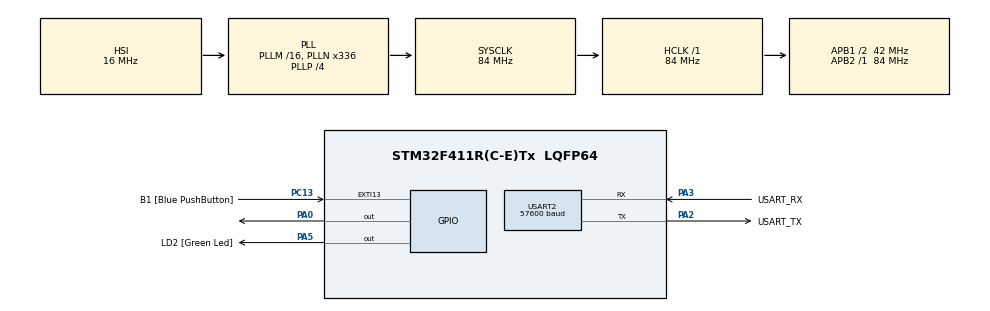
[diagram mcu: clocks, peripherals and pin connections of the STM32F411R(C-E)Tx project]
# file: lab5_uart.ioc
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Dma.Request0=USART2_RX
Dma.Request1=USART2_TX
Dma.USART2_RX.0.Direction=DMA_PERIPH_TO_MEMORY
Dma.USART2_RX.0.FIFOMode=DMA_FIFOMODE_DISABLE
Dma.USART2_RX.0.Instance=DMA1_Stream5
Dma.USART2_RX.0.MemDataAlignment=DMA_MDATAALIGN_BYTE
Dma.USART2_RX.0.MemInc=DMA_MINC_ENABLE
Dma.USART2_RX.0.Mode=DMA_CIRCULAR
Dma.USART2_RX.0.PeriphDataAlignment=DMA_PDATAALIGN_BYTE
Dma.USART2_RX.0.PeriphInc=DMA_PINC_DISABLE
Dma.USART2_RX.0.Priority=DMA_PRIORITY_LOW
Dma.USART2_TX.1.Direction=DMA_MEMORY_TO_PERIPH
Dma.USART2_TX.1.FIFOMode=DMA_FIFOMODE_DISABLE
Dma.USART2_TX.1.Instance=DMA1_Stream6
Dma.USART2_TX.1.MemDataAlignment=DMA_MDATAALIGN_BYTE
Dma.USART2_TX.1.MemInc=DMA_MINC_ENABLE
Dma.USART2_TX.1.Mode=DMA_NORMAL
Dma.USART2_TX.1.PeriphDataAlignment=DMA_PDATAALIGN_BYTE
Dma.USART2_TX.1.PeriphInc=DMA_PINC_DISABLE
Dma.USART2_TX.1.Priority=DMA_PRIORITY_LOW
Mcu.Family=STM32F4
Mcu.Name=STM32F411R(C-E)Tx
Mcu.Package=LQFP64
NVIC.DMA1_Stream5_IRQn=true\:0\:0\:false\:false\:true\:false\:true\:true
NVIC.DMA1_Stream6_IRQn=true\:0\:0\:false\:false\:true\:false\:true\:true
NVIC.EXTI15_10_IRQn=true\:0\:0\:false\:false\:true\:true\:true\:true
NVIC.PriorityGroup=NVIC_PRIORITYGROUP_0
NVIC.USART2_IRQn=true\:0\:0\:false\:false\:true\:true\:true\:true
PA0-WKUP.Signal=GPIO_Output
PA13.GPIO_Label=TMS
PA13.Mode=Serial_Wire
PA13.Signal=SYS_JTMS-SWDIO
PA14.GPIO_Label=TCK
PA14.Mode=Serial_Wire
PA14.Signal=SYS_JTCK-SWCLK
PA2.GPIO_Label=USART_TX
PA2.Mode=Asynchronous
PA2.Signal=USART2_TX
PA3.GPIO_Label=USART_RX
PA3.Mode=Asynchronous
PA3.Signal=USART2_RX
PA5.GPIO_Label=LD2 [Green Led]
PA5.Signal=GPIO_Output
PB3.GPIO_Label=SWO
PB3.Signal=SYS_JTDO-SWO
PC13-ANTI_TAMP.GPIO_Label=B1 [Blue PushButton]
PC13-ANTI_TAMP.GPIO_ModeDefaultEXTI=GPIO_MODE_IT_RISING_FALLING
PC13-ANTI_TAMP.Signal=GPXTI13
PC14-OSC32_IN.Mode=LSE-External-Oscillator
PC14-OSC32_IN.Signal=RCC_OSC32_IN
PC15-OSC32_OUT.Mode=LSE-External-Oscillator
PC15-OSC32_OUT.Signal=RCC_OSC32_OUT
PH0\ -\ OSC_IN.Mode=HSE-External-Clock-Source
PH0\ -\ OSC_IN.Signal=RCC_OSC_IN
PH1\ -\ OSC_OUT.Mode=HSE-External-Clock-Source
PH1\ -\ OSC_OUT.Signal=RCC_OSC_OUT
ProjectManager.HeapSize=0x200
ProjectManager.StackSize=0x400
ProjectManager.TargetToolchain=STM32CubeIDE
RCC.48MHZClocksFreq_Value=84000000
RCC.AHBFreq_Value=84000000
RCC.APB1CLKDivider=RCC_HCLK_DIV2
RCC.APB1Freq_Value=42000000
RCC.APB1TimFreq_Value=84000000
RCC.APB2Freq_Value=84000000
RCC.APB2TimFreq_Value=84000000
RCC.CortexFreq_Value=84000000
RCC.FLatency-AdvancedSettings=FLASH_LATENCY_2
RCC.HCLKFreq_Value=84000000
RCC.HSE_VALUE=8000000
RCC.HSI_VALUE=16000000
RCC.PLLN=336
RCC.PLLP=RCC_PLLP_DIV4
RCC.SYSCLKFreq_VALUE=84000000
RCC.SYSCLKSource=RCC_SYSCLKSOURCE_PLLCLK
RCC.VCOOutputFreq_Value=336000000
USART2.BaudRate=57600
USART2.VirtualMode=VM_ASYNC
board=NUCLEO-F411RE

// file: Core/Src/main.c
/* USER CODE BEGIN Header */
/**
  ******************************************************************************
  * @file           : main.c
  * @brief          : Main program body
  ******************************************************************************
  * @attention
  *
  * Copyright (c) 2023 STMicroelectronics.
  * All rights reserved.
  *
  * This software is licensed under terms that can be found in the LICENSE file
  * in the root directory of this software component.
  * If no LICENSE file comes with this software, it is provided AS-IS.
  *
  ******************************************************************************
  */
/* USER CODE END Header */
#include "main.h"

/* USER CODE BEGIN Includes */
#include "stdio.h"
#include "string.h"
/* USER CODE END Includes */

UART_HandleTypeDef huart2;
DMA_HandleTypeDef hdma_usart2_rx;
DMA_HandleTypeDef hdma_usart2_tx;

/* USER CODE BEGIN PV */
uint8_t RxBuffer[2];
uint8_t TxBuffer[200];
uint8_t TxBuffer1[100];

enum {
	ModeMenu,
	LEDControl,
	ButtonStatus,
}mode = ModeMenu;

uint32_t LED_speed;
uint32_t LED_onoff;
/* USER CODE END PV */

void SystemClock_Config(void);
static void MX_GPIO_Init(void);
static void MX_DMA_Init(void);
static void MX_USART2_UART_Init(void);

int main(void)
{

  /* MCU Configuration--------------------------------------------------------*/

  /* Reset of all peripherals, Initializes the Flash interface and the Systick. */
  HAL_Init();

  /* Configure the system clock */
  SystemClock_Config();

  /* Initialize all configured peripherals */
  MX_GPIO_Init();
  MX_DMA_Init();
  MX_USART2_UART_Init();
  /* USER CODE BEGIN 2 */
//  uint8_t text[] = "Hello World!";
//  HAL_UART_Transmit(&huart2, text, 11, 10);
	HAL_UART_Receive_DMA(&huart2, RxBuffer, 1);
	sprintf((char*)TxBuffer,"\r\n-------------------------\r\nSa Wad Dee Kub Por Mae Pee Nong\r\nPress 0 : LED Control\r\nPress 1 : Button Status\r\n");
	HAL_UART_Transmit_DMA(&huart2, TxBuffer, strlen((char*)TxBuffer));
  /* USER CODE END 2 */

  /* Infinite loop */
  while (1)
  {

    /* USER CODE BEGIN 3 */
	  HAL_GPIO_TogglePin(GPIOA, GPIO_PIN_0);
	  if (LED_onoff == 1 && LED_speed != 0){
			static uint32_t timestamp = 0;
			if(HAL_GetTick() >= timestamp)
			{
				timestamp = HAL_GetTick() + (1000 / (LED_speed * 2));
				HAL_GPIO_TogglePin(GPIOA, GPIO_PIN_5);
			}
	  }

  }
  /* USER CODE END 3 */
}

void SystemClock_Config(void)
{
  RCC_OscInitTypeDef RCC_OscInitStruct = {0};
  RCC_ClkInitTypeDef RCC_ClkInitStruct = {0};

  /** Configure the main internal regulator output voltage
  */
  __HAL_RCC_PWR_CLK_ENABLE();
  __HAL_PWR_VOLTAGESCALING_CONFIG(PWR_REGULATOR_VOLTAGE_SCALE1);

  /** Initializes the RCC Oscillators according to the specified parameters
  * in the RCC_OscInitTypeDef structure.
  */
  RCC_OscInitStruct.OscillatorType = RCC_OSCILLATORTYPE_HSI;
  RCC_OscInitStruct.HSIState = RCC_HSI_ON;
  RCC_OscInitStruct.HSICalibrationValue = RCC_HSICALIBRATION_DEFAULT;
  RCC_OscInitStruct.PLL.PLLState = RCC_PLL_ON;
  RCC_OscInitStruct.PLL.PLLSource = RCC_PLLSOURCE_HSI;
  RCC_OscInitStruct.PLL.PLLM = 16;
  RCC_OscInitStruct.PLL.PLLN = 336;
  RCC_OscInitStruct.PLL.PLLP = RCC_PLLP_DIV4;
  RCC_OscInitStruct.PLL.PLLQ = 4;
  if (HAL_RCC_OscConfig(&RCC_OscInitStruct) != HAL_OK)
  {
    Error_Handler();
  }

  /** Initializes the CPU, AHB and APB buses clocks
  */
  RCC_ClkInitStruct.ClockType = RCC_CLOCKTYPE_HCLK|RCC_CLOCKTYPE_SYSCLK
                              |RCC_CLOCKTYPE_PCLK1|RCC_CLOCKTYPE_PCLK2;
  RCC_ClkInitStruct.SYSCLKSource = RCC_SYSCLKSOURCE_PLLCLK;
  RCC_ClkInitStruct.AHBCLKDivider = RCC_SYSCLK_DIV1;
  RCC_ClkInitStruct.APB1CLKDivider = RCC_HCLK_DIV2;
  RCC_ClkInitStruct.APB2CLKDivider = RCC_HCLK_DIV1;

  if (HAL_RCC_ClockConfig(&RCC_ClkInitStruct, FLASH_LATENCY_2) != HAL_OK)
  {
    Error_Handler();
  }
}

static void MX_USART2_UART_Init(void)
{

  huart2.Instance = USART2;
  huart2.Init.BaudRate = 57600;
  huart2.Init.WordLength = UART_WORDLENGTH_8B;
  huart2.Init.StopBits = UART_STOPBITS_1;
  huart2.Init.Parity = UART_PARITY_NONE;
  huart2.Init.Mode = UART_MODE_TX_RX;
  huart2.Init.HwFlowCtl = UART_HWCONTROL_NONE;
  huart2.Init.OverSampling = UART_OVERSAMPLING_16;
  if (HAL_UART_Init(&huart2) != HAL_OK)
  {
    Error_Handler();
  }

}

static void MX_DMA_Init(void)
{

  /* DMA controller clock enable */
  __HAL_RCC_DMA1_CLK_ENABLE();

  /* DMA interrupt init */
  /* DMA1_Stream5_IRQn interrupt configuration */
  HAL_NVIC_SetPriority(DMA1_Stream5_IRQn, 0, 0);
  HAL_NVIC_EnableIRQ(DMA1_Stream5_IRQn);
  /* DMA1_Stream6_IRQn interrupt configuration */
  HAL_NVIC_SetPriority(DMA1_Stream6_IRQn, 0, 0);
  HAL_NVIC_EnableIRQ(DMA1_Stream6_IRQn);

}

static void MX_GPIO_Init(void)
{
  GPIO_InitTypeDef GPIO_InitStruct = {0};

  /* GPIO Ports Clock Enable */
  __HAL_RCC_GPIOC_CLK_ENABLE();
  __HAL_RCC_GPIOH_CLK_ENABLE();
  __HAL_RCC_GPIOA_CLK_ENABLE();
  __HAL_RCC_GPIOB_CLK_ENABLE();

  /*Configure GPIO pin Output Level */
  HAL_GPIO_WritePin(GPIOA, GPIO_PIN_0|LD2_Pin, GPIO_PIN_RESET);

  /*Configure GPIO pin : B1_Pin */
  GPIO_InitStruct.Pin = B1_Pin;
  GPIO_InitStruct.Mode = GPIO_MODE_IT_RISING_FALLING;
  GPIO_InitStruct.Pull = GPIO_NOPULL;
  HAL_GPIO_Init(B1_GPIO_Port, &GPIO_InitStruct);

  /*Configure GPIO pins : PA0 LD2_Pin */
  GPIO_InitStruct.Pin = GPIO_PIN_0|LD2_Pin;
  GPIO_InitStruct.Mode = GPIO_MODE_OUTPUT_PP;
  GPIO_InitStruct.Pull = GPIO_NOPULL;
  GPIO_InitStruct.Speed = GPIO_SPEED_FREQ_LOW;
  HAL_GPIO_Init(GPIOA, &GPIO_InitStruct);

  /* EXTI interrupt init*/
  HAL_NVIC_SetPriority(EXTI15_10_IRQn, 0, 0);
  HAL_NVIC_EnableIRQ(EXTI15_10_IRQn);

}

/* USER CODE BEGIN 4 */
void HAL_UART_RxCpltCallback(UART_HandleTypeDef *huart)
{
	if(huart == &huart2)
	{
		RxBuffer[1] = '\0';

//		sprintf((char*)TxBuffer,"Received : %s\r\n" ,RxBuffer);
//		HAL_UART_Transmit_DMA(&huart2, TxBuffer, strlen((char*)TxBuffer));

		char in = RxBuffer[0];

		switch (mode) {
			case ModeMenu:
				if (in == '0') {
					mode = LEDControl;
					sprintf((char*)TxBuffer,"-------------------------\r\nPress : %s\r\nLED Control\r\nPress a : +1 Hz\r\nPress s : -1 Hz\r\nPress d : On/Off\r\nPress x : Back to Mode Menu\r\n", RxBuffer);
					HAL_UART_Transmit_DMA(&huart2, TxBuffer, strlen((char*)TxBuffer));
				}
				else if (in == '1') {
					mode = ButtonStatus;
					sprintf((char*)TxBuffer,"-------------------------\r\nPress : %s\r\nButton Status\r\nPress x : Back to Mode Menu\r\n", RxBuffer);
					HAL_UART_Transmit_DMA(&huart2, TxBuffer, strlen((char*)TxBuffer));
				}
				else {
					sprintf((char*)TxBuffer,"-------------------------\r\nPress : %s\r\nPress Again!\r\nPress 0 : LED Control\r\nPress 1 : Button Status\r\n", RxBuffer);
					HAL_UART_Transmit_DMA(&huart2, TxBuffer, strlen((char*)TxBuffer));
				}
				break;
			case LEDControl:
				if (in == 'x') {
					LED_onoff = 0;
					HAL_GPIO_WritePin(LD2_GPIO_Port, LD2_Pin, 0);
					mode = ModeMenu;
					sprintf((char*)TxBuffer,"-------------------------\r\nPress : %s\r\nMode Menu\r\nPress 0 : LED Control\r\nPress 1 : Button Status\r\n", RxBuffer);
					HAL_UART_Transmit_DMA(&huart2, TxBuffer, strlen((char*)TxBuffer));
				}
				else if (in == 'd'){
					if (LED_onoff == 0){
						LED_onoff = 1;
						LED_speed = 1;
						sprintf((char*)TxBuffer,"-------------------------\r\nPress : %s\r\nLED is ON\r\nFrequency = %d Hz\r\n", RxBuffer,(int) LED_speed);
						HAL_UART_Transmit_DMA(&huart2, TxBuffer, strlen((char*)TxBuffer));
					}
					else if (LED_onoff == 1){
						LED_onoff = 0;
						HAL_GPIO_WritePin(LD2_GPIO_Port, LD2_Pin, 0);
						sprintf((char*)TxBuffer,"-------------------------\r\nPress : %s\r\nLED is OFF\r\n", RxBuffer);
						HAL_UART_Transmit_DMA(&huart2, TxBuffer, strlen((char*)TxBuffer));
					}
				}
				else if (in == 'a')
				{
					if (LED_onoff == 1){
						LED_speed++;
						sprintf((char*)TxBuffer,"-------------------------\r\nPress : %s\r\nFrequency = %d Hz\r\n", RxBuffer,(int) LED_speed);
						HAL_UART_Transmit_DMA(&huart2, TxBuffer, strlen((char*)TxBuffer));
					}
					else if (LED_onoff == 0){
						sprintf((char*)TxBuffer,"-------------------------\r\nPress : %s\r\nLED is OFF\r\n", RxBuffer);
						HAL_UART_Transmit_DMA(&huart2, TxBuffer, strlen((char*)TxBuffer));
					}
				}
				else if (in == 's')
				{
					if (LED_onoff == 1){
						if (LED_speed == 0){
							sprintf((char*)TxBuffer,"-------------------------\r\nPress : %s\r\nThere is no such physical thing as negative frequency.\r\nFrequency = %d Hz\r\n", RxBuffer,(int) LED_speed);
							HAL_UART_Transmit_DMA(&huart2, TxBuffer, strlen((char*)TxBuffer));
						}
						else {
							LED_speed--;
							sprintf((char*)TxBuffer,"-------------------------\r\nPress : %s\r\nFrequency = %d Hz\r\n", RxBuffer,(int) LED_speed);
							HAL_UART_Transmit_DMA(&huart2, TxBuffer, strlen((char*)TxBuffer));
						}
					}
					else if (LED_onoff == 0){
						sprintf((char*)TxBuffer,"-------------------------\r\nPress : %s\r\nLED is OFF\r\n", RxBuffer);
						HAL_UART_Transmit_DMA(&huart2, TxBuffer, strlen((char*)TxBuffer));
					}
				}
				else {
					sprintf((char*)TxBuffer,"-------------------------\r\nPress : %s\r\nPress Again! %s is not an choice.\r\n", RxBuffer, RxBuffer);
					HAL_UART_Transmit_DMA(&huart2, TxBuffer, strlen((char*)TxBuffer));
				}
				break;
			case ButtonStatus:
				if (in == 'x') {
					mode = ModeMenu;
					sprintf((char*)TxBuffer,"\r\n-------------------------\r\nPress : %s\r\nMode Menu\r\nPress 0 : LED Control\r\nPress 1 : Button Status\r\n", RxBuffer);
					HAL_UART_Transmit_DMA(&huart2, TxBuffer, strlen((char*)TxBuffer));
				}
				else {
					sprintf((char*)TxBuffer,"-------------------------\r\nPress : %s\r\nPress Again! %s is not an choice.\r\n", RxBuffer, RxBuffer);
					HAL_UART_Transmit_DMA(&huart2, TxBuffer, strlen((char*)TxBuffer));
				}
				break;
		}
	}
}
void HAL_GPIO_EXTI_Callback(uint16_t GPIO_PIN)
{
	if (GPIO_PIN == GPIO_PIN_13) {
		if (mode == ButtonStatus && HAL_GPIO_ReadPin(GPIOC, GPIO_PIN_13) == 1){
			sprintf((char*)TxBuffer,"-------------------------\r\nButton B1 is not pressed\r\n");
			HAL_UART_Transmit_DMA(&huart2, TxBuffer, strlen((char*)TxBuffer));
		}
		else if (mode == ButtonStatus && HAL_GPIO_ReadPin(GPIOC, GPIO_PIN_13) == 0){
			sprintf((char*)TxBuffer,"-------------------------\r\nButton B1 is pressed\r\n");
			HAL_UART_Transmit_DMA(&huart2, TxBuffer, strlen((char*)TxBuffer));
		}
	}
}

/* USER CODE END 4 */

void Error_Handler(void)
{
  __disable_irq();
  while (1)
  {
  }
}
